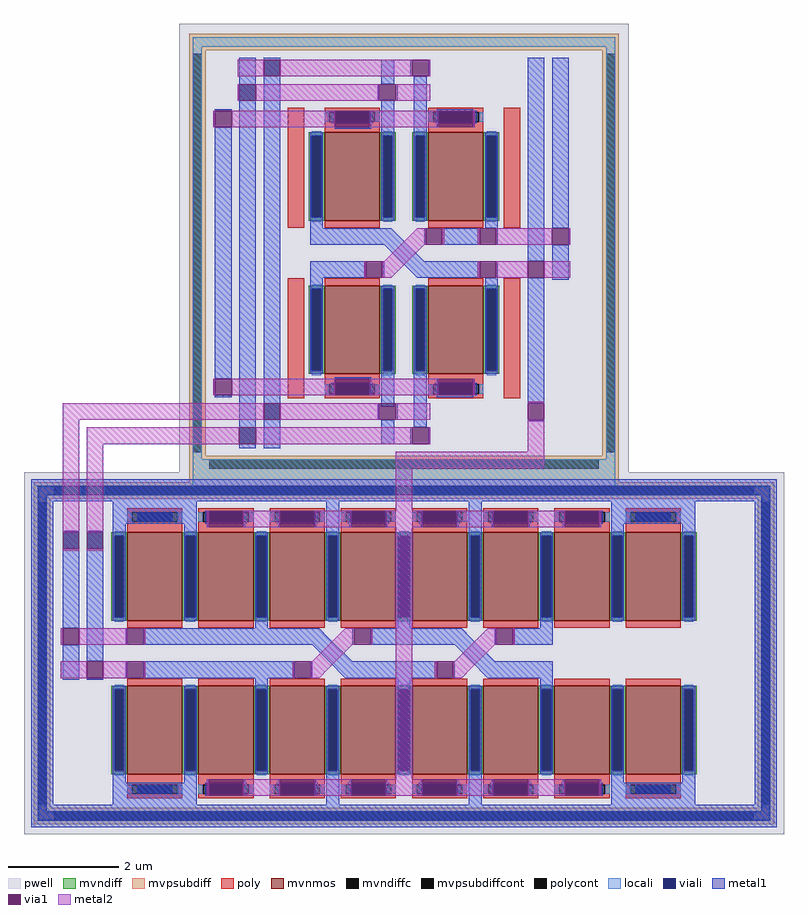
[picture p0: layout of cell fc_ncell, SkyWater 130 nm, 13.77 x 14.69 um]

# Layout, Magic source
magic
tech sky130A
magscale 1 2
<< pwell >>
rect 1143 1631 2701 1666
<< mvpsubdiff >>
rect 1143 1631 2701 1666
<< locali >>
rect 1156 1618 2688 1679
<< metal1 >>
rect 2371 1917 2431 2368
rect 2371 1851 2431 1857
rect 685 1449 745 1455
rect 685 1383 745 1389
rect 773 1449 833 1455
rect 773 1383 833 1389
<< via1 >>
rect 2371 1857 2431 1917
rect 685 1389 745 1449
rect 773 1389 833 1449
<< metal2 >>
rect 2371 1917 2431 1923
rect 685 1857 1319 1917
rect 685 1449 745 1857
rect 685 1383 745 1389
rect 773 1769 1319 1829
rect 773 1449 833 1769
rect 2371 1741 2431 1857
rect 1892 1681 2431 1741
rect 1892 1640 1952 1681
rect 773 1383 833 1389
use fc_ncell1  fc_ncell1_0
transform 1 0 451 0 1 1103
box 94 -748 2848 564
use fc_ncell2  fc_ncell2_0
transform 1 0 1152 0 1 2476
box -45 -846 1585 816
<< end >>

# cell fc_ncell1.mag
magic
tech sky130A
magscale 1 2
<< pwell >>
rect 94 -748 2848 564
<< mvpsubdiffcont >>
rect 203 481 2739 515
rect 143 -639 177 455
rect 2765 -639 2799 455
rect 203 -699 2739 -665
<< viali >>
rect 143 481 203 515
rect 203 481 2739 515
rect 2739 481 2799 515
rect 143 455 177 481
rect 143 -639 177 455
rect 143 -665 177 -639
rect 2765 455 2799 481
rect 2765 -639 2799 455
rect 2765 -665 2799 -639
rect 143 -699 203 -665
rect 203 -699 2739 -665
rect 2739 -699 2799 -665
<< metal1 >>
rect 234 -2 294 346
rect 234 -188 294 -62
rect 322 -122 382 346
rect 932 -2 978 26
rect 1448 -2 1494 26
rect 1964 -2 2010 26
rect 462 -62 468 -2
rect 528 -62 1067 -2
rect 1356 -62 1583 -2
rect 1872 -62 2010 -2
rect 462 -182 468 -122
rect 528 -182 1067 -122
rect 1356 -182 1583 -122
rect 1872 -182 2010 -122
rect 322 -188 382 -182
rect 932 -210 978 -182
rect 1448 -210 1494 -182
rect 1964 -210 2010 -182
<< via1 >>
rect 234 -62 294 -2
rect 468 -62 528 -2
rect 322 -182 382 -122
rect 468 -182 528 -122
<< metal2 >>
rect 228 -62 234 -2
rect 294 -62 468 -2
rect 528 -62 534 -2
rect 228 -182 322 -122
rect 382 -182 468 -122
rect 528 -182 534 -122
rect 1441 -608 1501 538
use cross_pair  cross_pair_0
transform -1 0 37986 0 -1 1853
box 36114 1855 36403 2035
use cross_pair  cross_pair_1
transform -1 0 37470 0 -1 1853
box 36114 1855 36403 2035
use fc_ncell1_half  fc_ncell1_half_0
transform -1 0 1491 0 -1 -184
box -1331 -92 1371 538
use fc_ncell1_half  fc_ncell1_half_1
transform -1 0 1491 0 1 0
box -1331 -92 1371 538
<< end >>

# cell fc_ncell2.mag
magic
tech sky130A
magscale 1 2
<< pwell >>
rect -45 -846 1585 816
<< mvpsubdiffcont >>
rect 4 -737 38 707
rect 1502 -737 1536 707
rect 64 -797 1476 -763
<< metal1 >>
rect 688 597 734 685
rect 793 625 799 685
rect 859 625 865 685
rect 675 537 681 597
rect 741 537 747 597
rect 806 541 852 625
rect 688 536 734 537
rect 430 75 476 103
rect 1064 75 1110 103
rect 430 15 626 75
rect 915 15 1044 75
rect 1104 15 1110 75
rect 1219 -45 1279 692
rect 430 -105 626 -45
rect 915 -105 1044 -45
rect 1104 -105 1110 -45
rect 430 -133 476 -105
rect 1064 -133 1110 -105
rect 1219 -111 1279 -105
rect 1307 75 1367 692
rect 1307 -111 1367 15
rect 675 -619 681 -559
rect 741 -619 747 -559
rect 688 -707 734 -619
rect 806 -647 852 -526
rect 793 -707 799 -647
rect 859 -707 865 -647
<< via1 >>
rect 261 625 321 685
rect 799 625 859 685
rect 173 537 233 597
rect 681 537 741 597
rect 1044 15 1104 75
rect 1044 -105 1104 -45
rect 1219 -105 1279 -45
rect 1307 15 1367 75
rect 261 -619 321 -559
rect 681 -619 741 -559
rect 173 -707 233 -647
rect 799 -707 859 -647
<< metal2 >>
rect 167 625 261 685
rect 321 625 799 685
rect 859 625 865 685
rect 167 537 173 597
rect 233 537 681 597
rect 741 537 865 597
rect 1038 15 1044 75
rect 1104 15 1307 75
rect 1367 15 1373 75
rect 1038 -105 1044 -45
rect 1104 -105 1219 -45
rect 1279 -105 1373 -45
rect 167 -619 261 -559
rect 321 -619 681 -559
rect 741 -619 865 -559
rect 167 -707 173 -647
rect 233 -707 799 -647
rect 859 -707 865 -647
use cross_pair  cross_pair_0
transform 1 0 -35488 0 1 -1960
box 36114 1855 36403 2035
use fc_ncell2_2  fc_ncell2_2_0
transform 1 0 431 0 1 67
box -440 -82 1118 713
use fc_ncell2_2  fc_ncell2_2_1
transform 1 0 431 0 -1 -97
box -440 -82 1118 713
<< end >>

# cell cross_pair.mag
magic
tech sky130A
magscale 1 2
<< metal1 >>
rect 36114 1975 36211 2035
tri 36211 1975 36271 2035 sw
rect 36331 1975 36337 2035
rect 36397 1975 36403 2035
rect 36114 1855 36120 1915
rect 36180 1855 36186 1915
tri 36186 1890 36271 1975 ne
tri 36271 1915 36331 1975 sw
rect 36271 1890 36403 1915
tri 36271 1855 36306 1890 ne
rect 36306 1855 36403 1890
<< via1 >>
rect 36337 1975 36397 2035
rect 36120 1855 36180 1915
<< metal2 >>
tri 36271 2000 36306 2035 se
rect 36306 2000 36337 2035
tri 36186 1915 36271 2000 se
rect 36271 1975 36337 2000
rect 36397 1975 36403 2035
tri 36271 1915 36331 1975 nw
rect 36114 1855 36120 1915
rect 36180 1855 36211 1915
tri 36211 1855 36271 1915 nw
<< end >>

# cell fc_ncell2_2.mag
magic
tech sky130A
magscale 1 2
<< mvpsubdiff >>
rect -440 653 1118 713
rect -440 -82 -380 653
rect 1058 -82 1118 653
<< poly >>
rect -82 10 -22 444
rect 700 10 760 444
<< locali >>
rect -427 666 1105 700
rect -427 -82 -393 666
rect 1071 -82 1105 666
<< metal1 >>
rect -346 434 -286 440
rect -346 -82 -286 374
rect -258 -82 -198 625
rect -170 -82 -110 625
rect 214 374 220 434
rect 88 368 220 374
rect 257 356 303 474
rect 375 356 421 474
rect 458 434 590 440
rect 458 374 464 434
rect 590 374 596 434
<< via1 >>
rect -346 374 -286 434
rect 88 374 214 434
rect 464 374 590 434
<< metal2 >>
rect -352 374 -346 434
rect -286 374 88 434
rect 214 374 464 434
rect 590 374 596 434
use sky130_fd_pr__nfet_g5v0d10v5_YZ2SRG  sky130_fd_pr__nfet_g5v0d10v5_YZ2SRG_0
transform 1 0 151 0 1 227
box -158 -217 158 217
use sky130_fd_pr__nfet_g5v0d10v5_YZ2SRG  sky130_fd_pr__nfet_g5v0d10v5_YZ2SRG_1
transform 1 0 527 0 1 227
box -158 -217 158 217
<< end >>

# cell sky130_fd_pr__nfet_g5v0d10v5_YZ2SRG: kit device sky130_fd_pr__nfet_g5v0d10v5, w 1.6 l 1 m 1 nf 1 diffcov 100 polycov 100 guard 0 glc 1 grc 1 gtc 1 gbc 1 tbcov 100 rlcov 100 topc 1 botc 0 poverlap 0 doverlap 1 lmin 0.50 wmin 0.42 compatible {sky130_fd_pr__nfet_01v8 sky130_fd_pr__nfet_01v8_lvt sky130_fd_bs_flash__special_sonosfet_star sky130_fd_pr__nfet_g5v0d10v5 sky130_fd_pr__nfet_05v0_nvt sky130_fd_pr__nfet_03v3_nvt} full_metal 1 viasrc 100 viadrn 100 viagate 75 viagb 0 viagr 0 viagl 0 viagt 0

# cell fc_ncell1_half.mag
magic
tech sky130A
magscale 1 2
use fc_ncell1_4  fc_ncell1_4_0
transform 1 0 1 0 1 0
box -10 -92 1370 538
use fc_ncell1_4  fc_ncell1_4_1
transform -1 0 39 0 1 0
box -10 -92 1370 538
<< end >>

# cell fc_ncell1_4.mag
magic
tech sky130A
magscale 1 2
<< mvpsubdiff >>
rect 19 468 1360 528
rect 1300 -92 1360 468
<< locali >>
rect 19 481 1347 515
rect 1313 -92 1347 481
<< metal1 >>
rect 19 458 1370 538
rect 79 364 85 424
rect 211 364 217 424
rect 254 346 300 458
rect 337 364 343 424
rect 469 364 475 424
rect 595 364 601 424
rect 727 364 733 424
rect 770 378 1074 458
rect 770 346 816 378
rect 1028 346 1074 378
rect 1290 -92 1370 458
<< via1 >>
rect 85 364 211 424
rect 343 364 469 424
rect 601 364 727 424
<< metal2 >>
rect 19 364 85 424
rect 211 364 343 424
rect 469 364 601 424
rect 727 364 733 424
use sky130_fd_pr__nfet_g5v0d10v5_VZ2S5U  sky130_fd_pr__nfet_g5v0d10v5_VZ2S5U_0
transform 1 0 535 0 1 217
box -545 -217 545 217
<< end >>

# cell sky130_fd_pr__nfet_g5v0d10v5_VZ2S5U: kit device sky130_fd_pr__nfet_g5v0d10v5, w 1.6 l 1 m 1 nf 4 diffcov 100 polycov 100 guard 0 glc 1 grc 1 gtc 1 gbc 1 tbcov 100 rlcov 100 topc 1 botc 0 poverlap 0 doverlap 1 lmin 0.50 wmin 0.42 compatible {sky130_fd_pr__nfet_01v8 sky130_fd_pr__nfet_01v8_lvt sky130_fd_bs_flash__special_sonosfet_star sky130_fd_pr__nfet_g5v0d10v5 sky130_fd_pr__nfet_05v0_nvt sky130_fd_pr__nfet_03v3_nvt} full_metal 1 viasrc 100 viadrn 100 viagate 75 viagb 0 viagr 0 viagl 0 viagt 0
